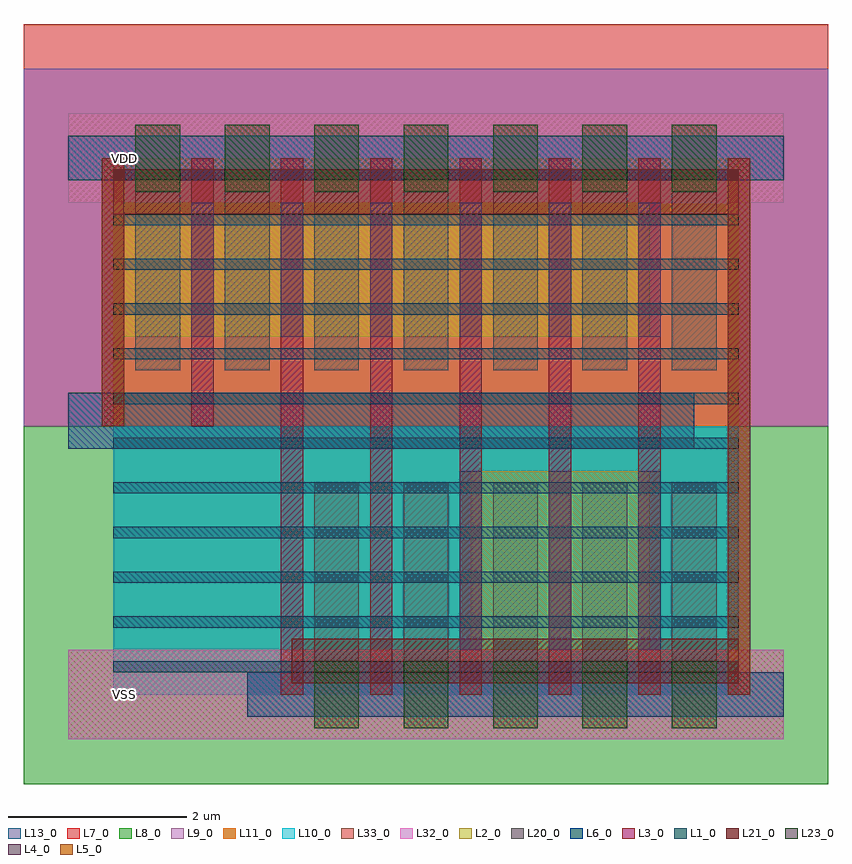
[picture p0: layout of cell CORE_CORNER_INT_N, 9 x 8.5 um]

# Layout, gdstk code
import gdstk
lib = gdstk.Library(unit=1e-6, precision=1e-10)
def R(c, l, rs):  # rectangles x0, y0, x1, y1
    for r in rs: c.add(gdstk.rectangle(r[:2], r[2:], *l))
def A(c, l, x, y, w, h, nx, ny, dx, dy):  # array of equal rectangles
    R(c, l, [(x+i*dx, y+j*dy, x+i*dx+w, y+j*dy+h) for i in range(nx) for j in range(ny)])
L1_0 = (1, 0)
L2_0 = (2, 0)
L3_0 = (3, 0)
L4_0 = (4, 0)
L5_0 = (5, 0)
L6_0 = (6, 0)
L7_0 = (7, 0)
L8_0 = (8, 0)
L9_0 = (9, 0)
L10_0 = (10, 0)
L11_0 = (11, 0)
L13_0 = (13, 0)
L20_0 = (20, 0)
L21_0 = (21, 0)
L23_0 = (23, 0)
L32_0 = (32, 0)
L33_0 = (33, 0)

core_corner_int_n = lib.new_cell('CORE_CORNER_INT_N')
A(core_corner_int_n, L1_0, 0, 0.25, 7, 0.125, 1, 12, 0, 0.5)
R(core_corner_int_n, L2_0, [(4,0.5,6,2.5), (0,4,6,5.5)])
A(core_corner_int_n, L3_0, 1.875, 0, 0.25, 6, 6, 1, 1, 0)
R(core_corner_int_n, L3_0, [(-0.125,3,0.125,6), (0.875,3,1.125,6)])
A(core_corner_int_n, L4_0, 3.875, 0.5, 0.25, 2, 3, 1, 1, 0)
A(core_corner_int_n, L4_0, 0.875, 4, 0.25, 1.5, 6, 1, 1, 0)
R(core_corner_int_n, L5_0, [(6.875,0,7.125,6), (-0.125,3,0.125,6)])
R(core_corner_int_n, L6_0, [(1.5,-0.25,7.5,0.25), (-0.5,2.75,6.5,3.375), (-0.5,5.75,7.5,6.25)])
R(core_corner_int_n, L7_0, [(-1,3,8,7.5)])
R(core_corner_int_n, L8_0, [(-1,-1,8,3)])
R(core_corner_int_n, L9_0, [(-1,3,8,7)])
R(core_corner_int_n, L10_0, [(0,0,7,3)])
R(core_corner_int_n, L11_0, [(0,3,7,6)])
R(core_corner_int_n, L13_0, [(0,0,7,6)])
A(core_corner_int_n, L20_0, 2.25, 0.375, 0.5, 2, 5, 1, 1, 0)
A(core_corner_int_n, L20_0, 0.25, 3.625, 0.5, 2, 7, 1, 1, 0)
R(core_corner_int_n, L21_0, [(2,0.125,7,0.625), (0,5.375,7,5.875)])
A(core_corner_int_n, L23_0, 2.25, -0.375, 0.5, 0.75, 5, 1, 1, 0)
A(core_corner_int_n, L23_0, 0.25, 5.625, 0.5, 0.75, 7, 1, 1, 0)
R(core_corner_int_n, L32_0, [(-0.5,-0.5,7.5,0.5), (-0.5,5.5,7.5,6.5)])
R(core_corner_int_n, L33_0, [(-0.5,-0.5,7.5,0.5), (-0.5,5.5,7.5,6.5)])
core_corner_int_n.add(gdstk.Label('VDD', (0.125,6), layer=132, texttype=0))
core_corner_int_n.add(gdstk.Label('VSS', (0.125,0), layer=132, texttype=0))

lib.write_gds('CORE_CORNER_INT_N.gds')
